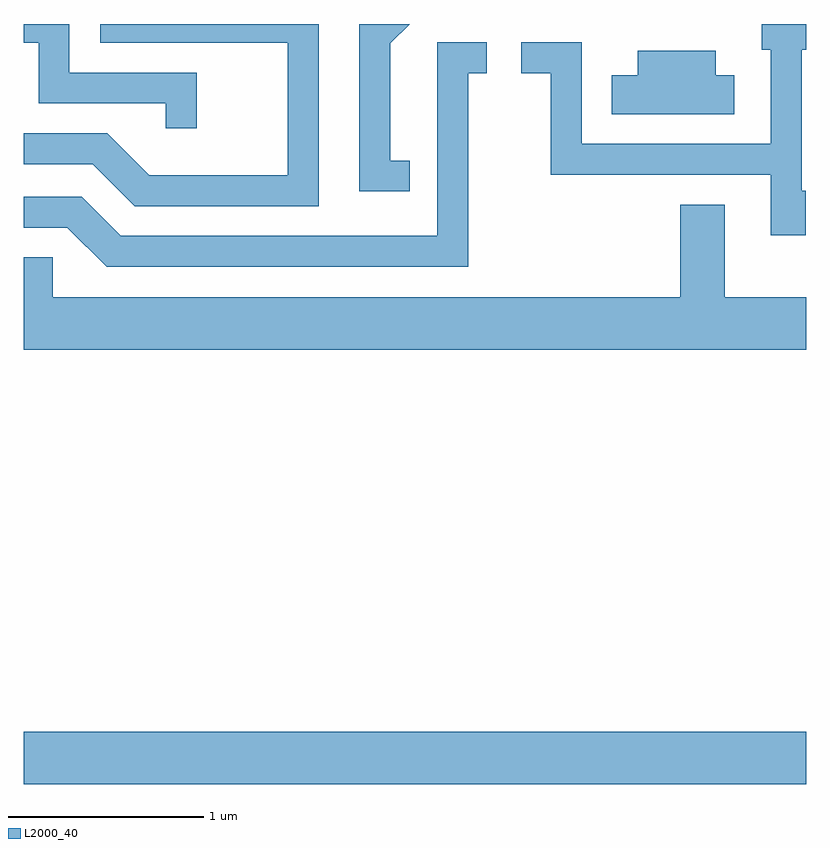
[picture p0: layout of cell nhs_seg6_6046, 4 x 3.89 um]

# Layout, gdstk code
import gdstk
lib = gdstk.Library(unit=1e-6, precision=1e-09)
def R(c, l, rs):  # rectangles x0, y0, x1, y1
    for r in rs: c.add(gdstk.rectangle(r[:2], r[2:], *l))
def P(c, l, *ps):  # polygons
    for p in ps: c.add(gdstk.Polygon(p, *l))
L2000_40 = (2000, 40)

nhs_seg6_6046 = lib.new_cell('nhs_seg6_6046')
R(nhs_seg6_6046, L2000_40, [(369.611,1532.276,373.611,1532.544)])
P(nhs_seg6_6046, L2000_40, [(370.494,1535.914),(369.844,1535.914),(369.844,1536.162),(369.611,1536.162),(369.611,1536.066),(369.686,1536.066),(369.686,1535.756),(370.336,1535.756),(370.336,1535.628),(370.494,1535.628)],
  [(373.609,1535.309),(373.589,1535.309),(373.589,1536.031),(373.611,1536.031),(373.611,1536.162),(373.383,1536.162),(373.383,1536.031),(373.431,1536.031),(373.431,1535.549),(372.464,1535.549),(372.464,1536.069),(372.153,1536.069),(372.153,1535.911),(372.306,1535.911),(372.306,1535.391),(373.431,1535.391),(373.431,1535.081),(373.609,1535.081)],
  [(371.583,1535.464),(371.484,1535.464),(371.484,1536.064),(371.583,1536.162),(371.326,1536.162),(371.326,1535.306),(371.583,1535.306)],
  [(371.119,1536.162),(370.001,1536.162),(370.001,1536.066),(370.961,1536.066),(370.961,1535.389),(370.252,1535.389),(370.037,1535.604),(369.611,1535.604),(369.611,1535.446),(369.964,1535.446),(370.179,1535.231),(371.119,1535.231)],
  [(371.884,1535.911),(371.978,1535.911),(371.978,1536.069),(371.726,1536.069),(371.726,1535.079),(370.107,1535.079),(369.907,1535.279),(369.611,1535.279),(369.611,1535.121),(369.834,1535.121),(370.034,1534.921),(371.884,1534.921)],
  [(373.244,1535.899),(373.149,1535.899),(373.149,1536.024),(372.751,1536.024),(372.751,1535.899),(372.616,1535.899),(372.616,1535.701),(373.244,1535.701)],
  [(373.611,1534.764),(373.194,1534.764),(373.194,1535.239),(372.966,1535.239),(372.966,1534.764),(369.759,1534.764),(369.759,1534.969),(369.611,1534.969),(369.611,1534.496),(373.611,1534.496)])

lib.write_gds('nhs_seg6_6046.gds')
